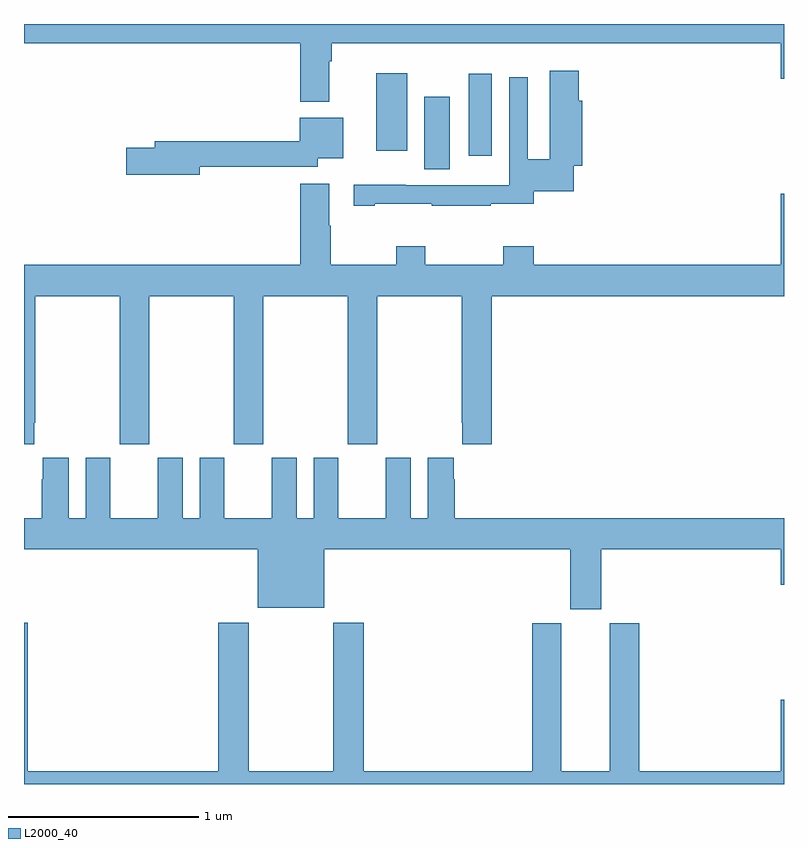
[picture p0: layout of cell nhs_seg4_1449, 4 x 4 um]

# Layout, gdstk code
import gdstk
lib = gdstk.Library(unit=1e-6, precision=1e-09)
def R(c, l, rs):  # rectangles x0, y0, x1, y1
    for r in rs: c.add(gdstk.rectangle(r[:2], r[2:], *l))
def P(c, l, *ps):  # polygons
    for p in ps: c.add(gdstk.Polygon(p, *l))
L2000_40 = (2000, 40)

nhs_seg4_1449 = lib.new_cell('nhs_seg4_1449')
R(nhs_seg4_1449, L2000_40, [(187.106,816.136,187.24,816.517), (187.34,816.207,187.462,816.637), (186.854,816.234,187.018,816.64)])
P(nhs_seg4_1449, L2000_40, [(186.607,816.704),(186.62,816.704),(186.62,816.8),(188.984,816.8),(188.984,816.612),(189,816.612),(189,816.9),(185,816.9),(185,816.8),(186.455,816.8),(186.455,816.491),(186.607,816.491)],
  [(186.847,815.953),(187.147,815.953),(187.147,815.943),(187.457,815.943),(187.457,815.953),(187.684,815.953),(187.684,816.02),(187.894,816.02),(187.894,816.155),(187.937,816.155),(187.937,816.495),(187.919,816.495),(187.919,816.655),(187.766,816.655),(187.766,816.187),(187.65,816.187),(187.65,816.619),(187.554,816.619),(187.554,816.052),(187.344,816.052),(187.344,816.051),(187.01,816.051),(187.01,816.053),(186.735,816.053),(186.735,815.943),(186.847,815.943)],
  [(185.926,816.148),(186.546,816.148),(186.546,816.194),(186.679,816.194),(186.679,816.406),(186.452,816.406),(186.452,816.284),(185.687,816.284),(185.687,816.248),(185.538,816.248),(185.538,816.106),(185.926,816.106)],
  [(185.053,814.801),(185.058,814.801),(185.058,815.468),(185.503,815.468),(185.503,814.689),(185.658,814.689),(185.658,815.468),(186.103,815.468),(186.103,814.689),(186.258,814.689),(186.258,815.468),(186.703,815.468),(186.703,814.689),(186.858,814.689),(186.858,815.468),(187.303,815.468),(187.303,814.801),(187.307,814.801),(187.307,814.689),(187.463,814.689),(187.463,815.468),(189,815.468),(189,816.007),(188.984,816.007),(188.984,815.632),(187.682,815.632),(187.682,815.731),(187.522,815.731),(187.522,815.632),(187.113,815.632),(187.113,815.731),(186.958,815.731),(186.958,815.632),(186.615,815.632),(186.615,815.837),(186.607,815.837),(186.607,816.058),(186.455,816.058),(186.455,815.632),(185,815.632),(185,814.689),(185.053,814.689)],
  [(188.038,814.136),(188.984,814.136),(188.984,813.948),(189,813.948),(189,814.3),(187.268,814.3),(187.268,814.505),(187.261,814.505),(187.261,814.618),(187.124,814.618),(187.124,814.3),(187.036,814.3),(187.036,814.618),(186.905,814.618),(186.905,814.3),(186.655,814.3),(186.655,814.618),(186.524,814.618),(186.524,814.3),(186.436,814.3),(186.436,814.618),(186.305,814.618),(186.305,814.3),(186.055,814.3),(186.055,814.618),(185.924,814.618),(185.924,814.3),(185.836,814.3),(185.836,814.618),(185.705,814.618),(185.705,814.3),(185.455,814.3),(185.455,814.618),(185.324,814.618),(185.324,814.3),(185.236,814.3),(185.236,814.618),(185.099,814.618),(185.099,814.505),(185.093,814.505),(185.093,814.3),(185,814.3),(185,814.136),(186.23,814.136),(186.23,813.827),(186.58,813.827),(186.58,814.136),(187.874,814.136),(187.874,813.819),(188.038,813.819)],
  [(189,813.343),(188.984,813.343),(188.984,812.968),(188.237,812.968),(188.237,813.747),(188.084,813.747),(188.084,812.968),(187.828,812.968),(187.828,813.747),(187.676,813.747),(187.676,812.968),(186.788,812.968),(186.788,813.748),(186.628,813.748),(186.628,812.968),(186.183,812.968),(186.183,813.748),(186.023,813.748),(186.023,812.968),(185.021,812.968),(185.021,813.748),(185,813.748),(185,812.9),(189,812.9)])

lib.write_gds('nhs_seg4_1449.gds')
